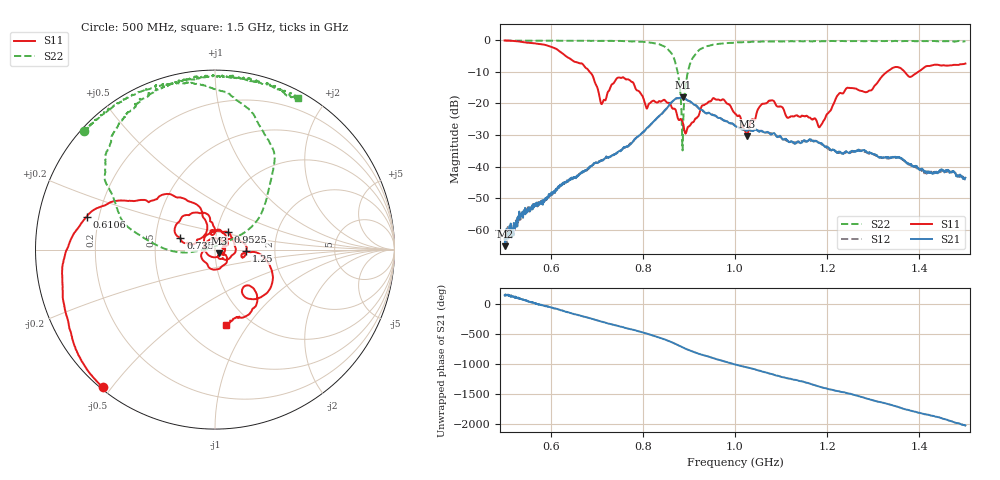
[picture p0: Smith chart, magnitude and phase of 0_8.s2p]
!Agilent Technologies,E8364B,US42250235,A.06.04.32
!Agilent E8364B: A.06.04.32
!Date: Friday, January 15, 2021 13:51:30
!Correction: S11(Full 2 Port(1,2)) S21(Full 2 Port(1,2)) S12(Full 2 Port(1,2)) S22(Full 2 Port(1,2))
!S2P File: Measurements: S11, S21, S12, S22:
# Hz S  dB  R 50
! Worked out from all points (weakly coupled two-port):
!   1601 points, 500 MHz to 1.5 GHz, reference 50 ohm
!   highest |S21| = -18.12 dB at 887.5 MHz (marker M1); lowest = -65.2 dB at 501.2 MHz (marker M2)
!   lowest |S11| = -30.3 dB at 1.026 GHz (marker M3), VSWR 1.06, Z = 52.2 - j2.27 ohm
!   |S11| at or under -10 dB: 684.3 MHz to 1.33 GHz (645.4 MHz wide, 64.1 % of centre); 1.368 GHz to 1.398 GHz (29.74 MHz wide, 2.15 % of centre)
!   |S22| runs from -34.9 to -0.1 dB; largest |S21 - S12| = 0.0035
!   S11 on the Smith chart (normalised r, x): 500 MHz: 0.01, -0.48; 610.6 MHz: 0.15, +0.12; 735 MHz: 0.67, +0.09; 952.5 MHz: 1.13, +0.22; 1.25 GHz: 1.42, -0.02; 1.5 GHz: 0.77, -0.79
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5e8  -0.09 -129.1  -62.95 151.2  -61.42 159.8  -0.16 137.8
5.0125e8  -0.10 -129.6  -65.16 163.3  -64.05 177.6  -0.16 137.7
5.675e8  -1.06 -163.4  -51.82 17.4  -51.63 13.5  -0.18 131.8
6.10625e8  -2.64 165.6  -47.20 -72.4  -47.58 -72.4  -0.16 127.1
6.66875e8  -7.34 136.3  -41.87 165.5  -41.98 165.5  -0.17 121.3
7.1125e8  -20.15 137.5  -38.05 69.5  -37.97 68.7  -0.22 115.9
7.35e8  -13.81 161.1  -36.36 20.9  -36.44 20.8  -0.26 113.3
8.3375e8  -19.52 97.0  -24.21 170.1  -24.24 168.8  -1.21 84.6
8.675e8  -21.67 35.9  -18.95 71.9  -18.96 71.0  -5.68 52.3
8.875e8  -26.54 -33.3  -18.12 -1.3  -18.19 -2.1  -26.32 176.4
8.95625e8  -28.40 -54.0  -18.94 -30.2  -18.92 -30.6  -11.61 -179.8
9.05625e8  -26.25 -142.7  -19.67 -61.0  -19.80 -61.9  -6.29 166.3
9.525e8  -18.37 53.1  -23.70 -176.1  -23.63 -177.9  -1.41 132.7
1e9  -23.17 -48.3  -27.11 75.9  -27.08 75.3  -0.79 119.1
1.025625e9  -30.27 -45.1  -28.65 30.1  -28.53 28.3  -0.60 116.3
1.0775e9  -19.08 -87.1  -29.83 -79.2  -29.44 -81.0  -0.42 107.5
1.166875e9  -25.03 15.2  -31.73 104.0  -31.78 104.1  -0.39 97.3
1.185625e9  -27.08 16.7  -32.59 62.8  -32.72 58.9  -0.38 95.4
1.25e9  -15.14 -2.2  -35.64 -51.6  -35.26 -55.1  -0.30 88.6
1.291875e9  -15.96 -8.3  -35.62 -144.4  -35.88 -146.2  -0.25 84.5
1.33375e9  -9.61 -18.8  -37.11 133.3  -37.32 132.3  -0.27 80.7
1.5e9  -7.40 -82.0  -43.49 139.6  -44.04 136.8  -0.32 61.3
